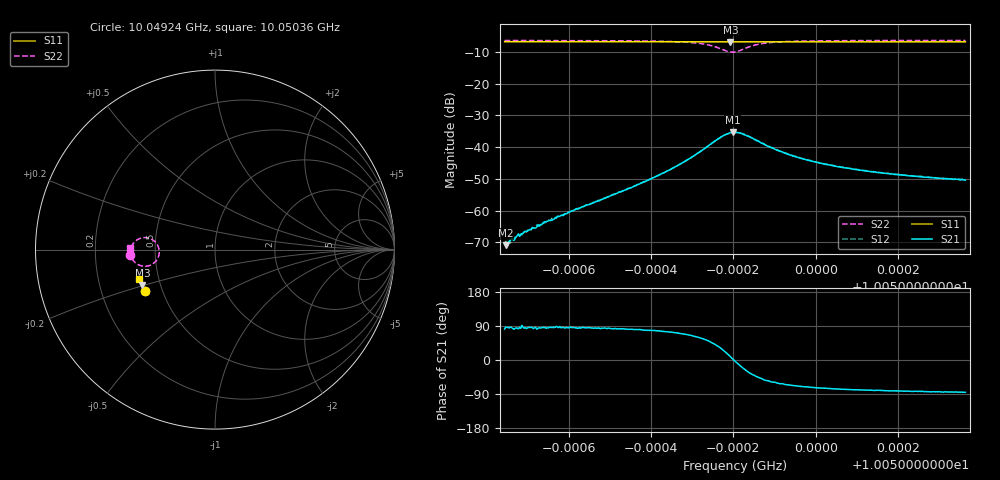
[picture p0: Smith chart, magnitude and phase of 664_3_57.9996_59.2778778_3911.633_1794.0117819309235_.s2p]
#  HZ  S  RI  R  50.00
! Rohde & Schwarz Vector Network Analyzer
! Rohde-Schwarz,ZNB20-2Port,1311601062101988,3.16
! Created: UTC 3/21/2024, 1:20:05 AM
! freq[Hz]  re:S11  im:S11  re:S21  im:S21  re:S12  im:S12  re:S22  im:S22
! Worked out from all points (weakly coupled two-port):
!   401 points, 10.04924 GHz to 10.05036 GHz, reference 50 ohm
!   highest |S21| = -35.36 dB at 10.0498 GHz (marker M1); lowest = -70.9 dB at 10.04925 GHz (marker M2)
!   lowest |S11| = -6.9 dB at 10.04979 GHz (marker M3), VSWR 2.65, Z = 19.8 - j9.92 ohm
!   |S11| at or under -10 dB: nowhere
!   |S22| runs from -10.1 to -6.5 dB; largest |S21 - S12| = 0.0015
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1.0049245e10  -0.3904 -0.2327  4.11e-05 0.00029  3.4e-05 0.000293  -0.474 -0.0306
1.0049247e10  -0.3904 -0.2325  1.5e-05 0.000285  2.9e-05 0.000327  -0.474 -0.0303
1.0049292e10  -0.3918 -0.2299  4.99e-05 0.000467  1.02e-05 0.000454  -0.474 -0.026
1.0049317e10  -0.3926 -0.2285  3.95e-05 0.00053  -3.5e-06 0.000537  -0.4737 -0.0234
1.0049345e10  -0.3936 -0.2268  7.14e-05 0.000668  4.34e-06 0.00066  -0.4735 -0.0204
1.0049432e10  -0.3963 -0.2218  8.3e-05 0.00114  4.3e-05 0.00112  -0.4727 -0.0103
1.0049549e10  -0.3997 -0.2147  0.000344 0.00223  0.000216 0.00228  -0.4687 0.00786
1.0049619e10  -0.4019 -0.2104  0.000812 0.00354  0.000646 0.00359  -0.4619 0.0239
1.0049672e10  -0.4034 -0.2071  0.0019 0.00513  0.00158 0.00523  -0.4496 0.0412
1.0049723e10  -0.4045 -0.2038  0.00478 0.00739  0.00429 0.00764  -0.4186 0.0622
1.0049762e10  -0.405 -0.2013  0.0108 0.00792  0.00997 0.00859  -0.3614 0.0617
1.0049793e10  -0.4049 -0.1998  0.0167 0.00263  0.0163 0.00381  -0.3126 0.00528
1.0049798e10  -0.405 -0.1997  0.017 0.000808  0.0169 0.00218  -0.3107 -0.011
1.0049804e10  -0.4052 -0.1997  0.0168 -0.000875  0.017 0.00054  -0.3119 -0.0275
1.0049818e10  -0.4057 -0.1992  0.0157 -0.00469  0.0162 -0.00351  -0.3281 -0.063
1.0049835e10  -0.4064 -0.1986  0.0128 -0.00759  0.0136 -0.00679  -0.3602 -0.0868
1.0049874e10  -0.408 -0.1966  0.00681 -0.0088  0.00763 -0.00838  -0.4197 -0.0874
1.0049927e10  -0.4097 -0.1932  0.00337 -0.0072  0.00389 -0.00702  -0.4524 -0.0642
1.0049991e10  -0.4117 -0.1892  0.0018 -0.0057  0.00222 -0.00562  -0.4658 -0.0433
1.0050072e10  -0.4137 -0.1842  0.00102 -0.00461  0.00131 -0.00454  -0.4715 -0.0259
1.0050179e10  -0.4166 -0.1778  0.000555 -0.00376  0.000827 -0.00373  -0.4743 -0.0102
1.0050363e10  -0.4209 -0.1664  0.000249 -0.00301  0.000448 -0.00304  -0.4753 0.00943
